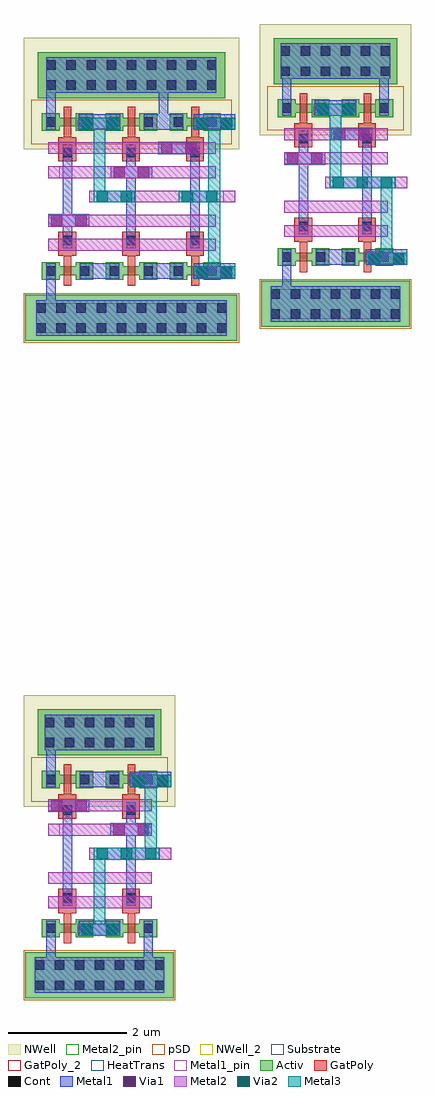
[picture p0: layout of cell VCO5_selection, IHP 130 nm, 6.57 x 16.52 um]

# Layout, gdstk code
from math import pi, radians
import gdstk
lib = gdstk.Library(unit=1e-6, precision=1e-09)
def R(c, l, rs):  # rectangles x0, y0, x1, y1
    for r in rs: c.add(gdstk.rectangle(r[:2], r[2:], *l))
def A(c, l, x, y, w, h, nx, ny, dx, dy):  # array of equal rectangles
    R(c, l, [(x+i*dx, y+j*dy, x+i*dx+w, y+j*dy+h) for i in range(nx) for j in range(ny)])
Activ = (1, 0)
GatPoly = (5, 0)
GatPoly_2 = (5, 2)
Cont = (6, 0)
Metal1 = (8, 0)
Metal1_pin = (8, 2)
Metal2 = (10, 0)
Metal2_pin = (10, 2)
pSD = (14, 0)
Via1 = (19, 0)
Via2 = (29, 0)
Metal3 = (30, 0)
NWell = (31, 0)
NWell_2 = (31, 2)
Substrate = (40, 0)
HeatTrans = (51, 0)

via_4_1 = lib.new_cell('Via$4$1')
R(via_4_1, Metal2, [(-0.1,-0.35,0.1,0.35)])
R(via_4_1, Via2, [(-0.095,-0.3,0.095,-0.11), (-0.095,0.11,0.095,0.3)])
R(via_4_1, Metal3, [(-0.1,-0.35,0.1,0.35)])

via_2_1 = lib.new_cell('Via$2$1')
R(via_2_1, Metal1, [(-0.105,-0.35,0.105,0.35)])
R(via_2_1, Metal2, [(-0.1,-0.35,0.1,0.35)])
R(via_2_1, Via1, [(-0.095,-0.3,0.095,-0.11), (-0.095,0.11,0.095,0.3)])

ntap1_1 = lib.new_cell('ntap1$1')
R(ntap1_1, Activ, [(0,0,2.09,0.78)])
A(ntap1_1, Cont, 0.115, 0.14, 0.16, 0.16, 6, 2, 0.34, 0.34)
R(ntap1_1, Metal1, [(0.115,0.09,1.975,0.69)])
R(ntap1_1, Metal1_pin, [(0.115,0.09,1.975,0.69), (0.115,0.14,1.975,0.64)])
R(ntap1_1, NWell, [(-0.24,-0.24,2.33,1.02), (0,0,2.09,0.78)])
R(ntap1_1, NWell_2, [(0,0,2.09,0.78)])
ntap1_1.add(gdstk.Label('well', (1.045,0.01), layer=63, texttype=0))
ntap1_1.add(gdstk.Label('well', (1.045,0.01), layer=31, texttype=0))

ptap1_1 = lib.new_cell('ptap1$1')
R(ptap1_1, Activ, [(0,0,2.51,0.78)])
A(ptap1_1, Cont, 0.155, 0.14, 0.16, 0.16, 7, 2, 0.34, 0.34)
R(ptap1_1, Metal1, [(0.155,0.09,2.355,0.69), (0.155,0.14,2.355,0.64)])
R(ptap1_1, Metal1_pin, [(0.155,0.14,2.355,0.64)])
R(ptap1_1, pSD, [(-0.03,-0.03,2.54,0.81)])
R(ptap1_1, Substrate, [(0,0,2.51,0.78)])
ptap1_1.add(gdstk.Label('sub!', (1.255,0.01), layer=63, texttype=0))
ptap1_1.add(gdstk.Label('sub!', (1.255,0.01), layer=40, texttype=0))

nmos_1 = lib.new_cell('nmos$1')
R(nmos_1, Activ, [(0,0,0.3,0.3), (0.57,0,0.87,0.3), (0,0.075,0.87,0.225)])
R(nmos_1, GatPoly, [(0.37,-0.105,0.5,0.405)])
R(nmos_1, GatPoly_2, [(0.37,-0.105,0.5,0.405)])
R(nmos_1, Cont, [(0.07,0.07,0.23,0.23), (0.64,0.07,0.8,0.23)])
R(nmos_1, Metal1, [(0.07,0.02,0.23,0.28), (0.64,0.02,0.8,0.28)])
R(nmos_1, Metal1_pin, [(0.07,0.02,0.23,0.28), (0.64,0.02,0.8,0.28)])
R(nmos_1, HeatTrans, [(0.37,-0.105,0.5,0.405)])
nmos_1.add(gdstk.Label('nmos', (0.435,0.15), layer=63, texttype=0))
nmos_1.add(gdstk.Label('nmos', (0.435,0.15), layer=51, texttype=0))

pmos_1 = lib.new_cell('pmos$1')
R(pmos_1, Activ, [(0,0,0.3,0.3), (0.57,0,0.87,0.3), (0,0.075,0.87,0.225)])
R(pmos_1, GatPoly, [(0.37,-0.105,0.5,0.405), (0.37,-0.105,0.5,0.405)])
R(pmos_1, Cont, [(0.07,0.07,0.23,0.23), (0.64,0.07,0.8,0.23)])
R(pmos_1, Metal1, [(0.07,0.02,0.23,0.28), (0.07,0.02,0.23,0.28), (0.64,0.02,0.8,0.28), (0.64,0.02,0.8,0.28)])
R(pmos_1, pSD, [(-0.18,-0.225,1.05,0.525)])
R(pmos_1, NWell, [(-0.31,-0.31,1.18,0.61)])
R(pmos_1, Substrate, [(0.57,0,0.87,0.3)])
R(pmos_1, HeatTrans, [(0.37,-0.105,0.5,0.405)])
pmos_1.add(gdstk.Label('pmos', (0.435,0.15), layer=63, texttype=0))
pmos_1.add(gdstk.Label('pmos', (0.435,0.15), layer=51, texttype=0))

via_8 = lib.new_cell('Via$8')
R(via_8, GatPoly, [(-0.15,-0.15,0.15,0.15)])
R(via_8, Cont, [(-0.08,-0.08,0.08,0.08)])
R(via_8, Metal1, [(-0.13,-0.08,0.13,0.08)])

via_7_1 = lib.new_cell('Via$7$1')
R(via_7_1, Metal2, [(-0.555,-0.1,0.555,0.1)])
A(via_7_1, Via2, -0.505, -0.095, 0.19, 0.19, 3, 1, 0.41, 0)
R(via_7_1, Metal3, [(-0.555,-0.1,0.555,0.1)])

via_6 = lib.new_cell('Via$6')
R(via_6, Metal1, [(-0.35,-0.105,0.35,0.105)])
R(via_6, Metal2, [(-0.35,-0.1,0.35,0.1)])
R(via_6, Via1, [(-0.3,-0.095,-0.11,0.095), (0.11,-0.095,0.3,0.095)])

nand_2in = lib.new_cell('NAND_2in')
R(nand_2in, GatPoly, [(9.375,7.165,9.675,7.275), (10.455,7.165,10.755,7.275), (9.375,9.065,9.675,9.175), (10.455,9.065,10.755,9.175)])
R(nand_2in, Metal1, [(9.735,6.78,10.405,7.04), (10.585,6.78,11.285,7.04), (9.72,9.3,10.42,9.56)])
R(nand_2in, Metal1_pin, [(9.16,6.015,9.36,6.215), (9.325,10.12,9.525,10.32)])
R(nand_2in, Metal2_pin, [(11.085,8.07,11.285,8.27), (9.2,8.48,9.4,8.68), (9.2,8.89,9.4,9.09)])
nand_2in.add(gdstk.FlexPath([(9.245,9.56),(9.245,10.525)], 0.16, ends="flush", simple_path=True, layer=8, datatype=0))  # Metal1
nand_2in.add(gdstk.FlexPath([(10.895,9.56),(10.895,10.525)], 0.16, ends="flush", simple_path=True, layer=8, datatype=0))  # Metal1
nand_2in.add(gdstk.FlexPath([(9.245,6.78),(9.245,6.415)], 0.16, ends="flush", simple_path=True, layer=8, datatype=0))  # Metal1
nand_2in.add(gdstk.FlexPath([(9.525,7.555),(9.525,8.785)], 0.16, ends="flush", simple_path=True, layer=8, datatype=0))  # Metal1
nand_2in.add(gdstk.FlexPath([(10.605,7.555),(10.605,8.785)], 0.16, ends="flush", simple_path=True, layer=8, datatype=0))  # Metal1
nand_2in.add(gdstk.FlexPath([(9.9,8.17),(11.285,8.17)], 0.2, ends="flush", simple_path=True, layer=10, datatype=0))  # Metal2
nand_2in.add(gdstk.FlexPath([(10.895,6.91),(10.565,6.91)], 0.2, ends="flush", simple_path=True, layer=10, datatype=0))  # Metal2
nand_2in.add(gdstk.FlexPath([(9.865,9.405),(9.7,9.405)], 0.2, ends="flush", simple_path=True, layer=10, datatype=0))  # Metal2
nand_2in.add(gdstk.FlexPath([(10.43,8.58),(10.43,8.58)], 0.2, ends="flush", simple_path=True, layer=10, datatype=0))  # Metal2
nand_2in.add(gdstk.FlexPath([(9.2,8.99),(10.955,8.99)], 0.2, ends="flush", simple_path=True, layer=10, datatype=0))  # Metal2
nand_2in.add(gdstk.FlexPath([(9.2,8.58),(10.955,8.58)], 0.2, ends="flush", simple_path=True, layer=10, datatype=0))  # Metal2
nand_2in.add(gdstk.FlexPath([(9.2,7.76),(10.955,7.76)], 0.2, ends="flush", simple_path=True, layer=10, datatype=0))  # Metal2
nand_2in.add(gdstk.FlexPath([(9.2,7.35),(10.955,7.35)], 0.2, ends="flush", simple_path=True, layer=10, datatype=0))  # Metal2
nand_2in.add(gdstk.FlexPath([(10.07,9.305),(10.07,8.07)], 0.2, ends="flush", simple_path=True, layer=30, datatype=0))  # Metal3
nand_2in.add(gdstk.FlexPath([(10.935,6.885),(10.935,8.07)], 0.2, ends="flush", simple_path=True, layer=30, datatype=0))  # Metal3
nand_2in.add(gdstk.Reference(via_4_1, (10.935,6.885), rotation=3*pi/2))
nand_2in.add(gdstk.Reference(via_2_1, (10.935,6.885), rotation=3*pi/2))
nand_2in.add(gdstk.Reference(ntap1_1, (9.025,9.835)))
nand_2in.add(gdstk.Reference(ptap1_1, (8.815,5.725)))
nand_2in.add(gdstk.Reference(nmos_1, (10.175,6.76)))
nand_2in.add(gdstk.Reference(pmos_1, (10.175,9.28)))
nand_2in.add(gdstk.Reference(nmos_1, (9.095,6.76)))
nand_2in.add(gdstk.Reference(pmos_1, (9.095,9.28)))
nand_2in.add(gdstk.Reference(via_8, (9.525,8.915), rotation=pi/2))
nand_2in.add(gdstk.Reference(via_8, (10.605,8.915), rotation=pi/2))
nand_2in.add(gdstk.Reference(via_8, (10.605,7.425), rotation=3*pi/2))
nand_2in.add(gdstk.Reference(via_8, (9.525,7.425), rotation=3*pi/2))
nand_2in.add(gdstk.Reference(via_2_1, (9.55,8.58), rotation=3*pi/2))
nand_2in.add(gdstk.Reference(via_7_1, (10.525,8.17)))
nand_2in.add(gdstk.Reference(via_2_1, (10.07,9.405), rotation=3*pi/2))
nand_2in.add(gdstk.Reference(via_4_1, (10.07,9.405), rotation=3*pi/2))
nand_2in.add(gdstk.Reference(via_6, (10.345,8.99)))
nand_2in.add(gdstk.Label('y', (11.185,8.17), layer=10, texttype=25))
nand_2in.add(gdstk.Label('b', (9.315,8.575), layer=10, texttype=25))
nand_2in.add(gdstk.Label('a', (9.3,8.99), layer=10, texttype=25))
nand_2in.add(gdstk.Label('VP', (9.295,10.22), layer=8, texttype=25))
nand_2in.add(gdstk.Label('GND', (9.26,6.115), layer=8, texttype=25))

ntap1_2 = lib.new_cell('ntap1$2')
R(ntap1_2, Activ, [(0,0,3.17,0.78)])
A(ntap1_2, Cont, 0.145, 0.14, 0.16, 0.16, 9, 2, 0.34, 0.34)
R(ntap1_2, Metal1, [(0.145,0.09,3.025,0.69)])
R(ntap1_2, Metal1_pin, [(0.145,0.09,3.025,0.69), (0.145,0.14,3.025,0.64)])
R(ntap1_2, NWell, [(-0.24,-0.24,3.41,1.02), (0,0,3.17,0.78)])
R(ntap1_2, NWell_2, [(0,0,3.17,0.78)])
ntap1_2.add(gdstk.Label('well', (1.585,0.01), layer=63, texttype=0))
ntap1_2.add(gdstk.Label('well', (1.585,0.01), layer=31, texttype=0))

ptap1_2 = lib.new_cell('ptap1$2')
R(ptap1_2, Activ, [(0,0,3.59,0.78)])
A(ptap1_2, Cont, 0.185, 0.14, 0.16, 0.16, 10, 2, 0.34, 0.34)
R(ptap1_2, Metal1, [(0.185,0.09,3.405,0.69), (0.185,0.14,3.405,0.64)])
R(ptap1_2, Metal1_pin, [(0.185,0.14,3.405,0.64)])
R(ptap1_2, pSD, [(-0.03,-0.03,3.62,0.81)])
R(ptap1_2, Substrate, [(0,0,3.59,0.78)])
ptap1_2.add(gdstk.Label('sub!', (1.795,0.01), layer=63, texttype=0))
ptap1_2.add(gdstk.Label('sub!', (1.795,0.01), layer=40, texttype=0))

nmos_2 = lib.new_cell('nmos$2')
R(nmos_2, Activ, [(0,0,0.3,0.3), (0.57,0,0.87,0.3), (0,0.075,0.87,0.225)])
R(nmos_2, GatPoly, [(0.37,-0.105,0.5,0.405)])
R(nmos_2, GatPoly_2, [(0.37,-0.105,0.5,0.405)])
R(nmos_2, Cont, [(0.07,0.07,0.23,0.23), (0.64,0.07,0.8,0.23)])
R(nmos_2, Metal1, [(0.07,0.02,0.23,0.28), (0.64,0.02,0.8,0.28)])
R(nmos_2, Metal1_pin, [(0.07,0.02,0.23,0.28), (0.64,0.02,0.8,0.28)])
R(nmos_2, HeatTrans, [(0.37,-0.105,0.5,0.405)])
nmos_2.add(gdstk.Label('nmos', (0.435,0.15), layer=63, texttype=0))
nmos_2.add(gdstk.Label('nmos', (0.435,0.15), layer=51, texttype=0))

pmos_2 = lib.new_cell('pmos$2')
R(pmos_2, Activ, [(0,0,0.3,0.3), (0.57,0,0.87,0.3), (0,0.075,0.87,0.225)])
R(pmos_2, GatPoly, [(0.37,-0.105,0.5,0.405), (0.37,-0.105,0.5,0.405)])
R(pmos_2, Cont, [(0.07,0.07,0.23,0.23), (0.64,0.07,0.8,0.23)])
R(pmos_2, Metal1, [(0.07,0.02,0.23,0.28), (0.07,0.02,0.23,0.28), (0.64,0.02,0.8,0.28), (0.64,0.02,0.8,0.28)])
R(pmos_2, pSD, [(-0.18,-0.225,1.05,0.525)])
R(pmos_2, NWell, [(-0.31,-0.31,1.18,0.61)])
R(pmos_2, Substrate, [(0.57,0,0.87,0.3)])
R(pmos_2, HeatTrans, [(0.37,-0.105,0.5,0.405)])
pmos_2.add(gdstk.Label('pmos', (0.435,0.15), layer=63, texttype=0))
pmos_2.add(gdstk.Label('pmos', (0.435,0.15), layer=51, texttype=0))

via_9 = lib.new_cell('Via$9')
R(via_9, GatPoly, [(-0.15,-0.15,0.15,0.15)])
R(via_9, Cont, [(-0.08,-0.08,0.08,0.08)])
R(via_9, Metal1, [(-0.13,-0.08,0.13,0.08)])

via_2_2 = lib.new_cell('Via$2$2')
R(via_2_2, Metal1, [(-0.105,-0.35,0.105,0.35)])
R(via_2_2, Metal2, [(-0.1,-0.35,0.1,0.35)])
R(via_2_2, Via1, [(-0.095,-0.3,0.095,-0.11), (-0.095,0.11,0.095,0.3)])

via_8_1 = lib.new_cell('Via$8$1')
R(via_8_1, Metal2, [(-0.35,-0.1,0.35,0.1)])
R(via_8_1, Via2, [(-0.3,-0.095,-0.11,0.095), (0.11,-0.095,0.3,0.095)])
R(via_8_1, Metal3, [(-0.35,-0.1,0.35,0.1)])

via_4_2 = lib.new_cell('Via$4$2')
R(via_4_2, Metal2, [(-0.1,-0.35,0.1,0.35)])
R(via_4_2, Via2, [(-0.095,-0.3,0.095,-0.11), (-0.095,0.11,0.095,0.3)])
R(via_4_2, Metal3, [(-0.1,-0.35,0.1,0.35)])

via_6_1 = lib.new_cell('Via$6$1')
R(via_6_1, Metal1, [(-0.35,-0.105,0.35,0.105)])
R(via_6_1, Metal2, [(-0.35,-0.1,0.35,0.1)])
R(via_6_1, Via1, [(-0.3,-0.095,-0.11,0.095), (0.11,-0.095,0.3,0.095)])

nand_3in = lib.new_cell('NAND_3in')
A(nand_3in, GatPoly, 9.375, 7.165, 0.3, 0.11, 3, 2, 1.08, 1.9)
R(nand_3in, Metal1, [(9.735,6.78,10.405,7.04), (10.815,6.78,11.485,7.04), (11.665,6.78,12.365,7.04), (9.72,9.3,10.42,9.56), (10.815,9.3,11.485,9.56), (11.665,9.3,12.365,9.56)])
R(nand_3in, Metal1_pin, [(9.16,6.015,9.36,6.215), (9.325,10.12,9.525,10.32)])
R(nand_3in, Metal2_pin, [(9.2,7.66,9.4,7.86), (12.165,8.07,12.365,8.27), (9.2,8.48,9.4,8.68), (9.2,8.89,9.4,9.09)])
nand_3in.add(gdstk.FlexPath([(11.685,7.555),(11.685,8.785)], 0.16, ends="flush", simple_path=True, layer=8, datatype=0))  # Metal1
nand_3in.add(gdstk.FlexPath([(11.15,9.56),(11.15,9.925)], 0.16, ends="flush", simple_path=True, layer=8, datatype=0))  # Metal1
nand_3in.add(gdstk.FlexPath([(9.245,9.56),(9.245,10.525)], 0.16, ends="flush", simple_path=True, layer=8, datatype=0))  # Metal1
nand_3in.add(gdstk.FlexPath([(9.245,6.78),(9.245,6.415)], 0.16, ends="flush", simple_path=True, layer=8, datatype=0))  # Metal1
nand_3in.add(gdstk.FlexPath([(9.525,7.555),(9.525,8.785)], 0.16, ends="flush", simple_path=True, layer=8, datatype=0))  # Metal1
nand_3in.add(gdstk.FlexPath([(10.605,7.555),(10.605,8.785)], 0.16, ends="flush", simple_path=True, layer=8, datatype=0))  # Metal1
nand_3in.add(gdstk.FlexPath([(9.9,8.17),(12.365,8.17)], 0.2, ends="flush", simple_path=True, layer=10, datatype=0))  # Metal2
nand_3in.add(gdstk.FlexPath([(11.81,9.405),(11.645,9.405)], 0.2, ends="flush", simple_path=True, layer=10, datatype=0))  # Metal2
nand_3in.add(gdstk.FlexPath([(11.81,6.885),(11.645,6.885)], 0.2, ends="flush", simple_path=True, layer=10, datatype=0))  # Metal2
nand_3in.add(gdstk.FlexPath([(9.2,7.76),(12.035,7.76)], 0.2, ends="flush", simple_path=True, layer=10, datatype=0))  # Metal2
nand_3in.add(gdstk.FlexPath([(9.2,7.35),(12.035,7.35)], 0.2, ends="flush", simple_path=True, layer=10, datatype=0))  # Metal2
nand_3in.add(gdstk.FlexPath([(9.2,8.99),(12.035,8.99)], 0.2, ends="flush", simple_path=True, layer=10, datatype=0))  # Metal2
nand_3in.add(gdstk.FlexPath([(9.2,8.58),(12.035,8.58)], 0.2, ends="flush", simple_path=True, layer=10, datatype=0))  # Metal2
nand_3in.add(gdstk.FlexPath([(9.865,9.405),(9.7,9.405)], 0.2, ends="flush", simple_path=True, layer=10, datatype=0))  # Metal2
nand_3in.add(gdstk.FlexPath([(10.43,8.58),(10.43,8.58)], 0.2, ends="flush", simple_path=True, layer=10, datatype=0))  # Metal2
nand_3in.add(gdstk.FlexPath([(12.015,6.885),(12.015,8.17)], 0.2, ends="flush", simple_path=True, layer=30, datatype=0))  # Metal3
nand_3in.add(gdstk.FlexPath([(12.015,9.405),(12.015,8.17)], 0.2, ends="flush", simple_path=True, layer=30, datatype=0))  # Metal3
nand_3in.add(gdstk.FlexPath([(10.07,9.305),(10.07,8.07)], 0.2, ends="flush", simple_path=True, layer=30, datatype=0))  # Metal3
nand_3in.add(gdstk.Reference(ntap1_2, (9.025,9.835)))
nand_3in.add(gdstk.Reference(ptap1_2, (8.815,5.725)))
nand_3in.add(gdstk.Reference(nmos_2, (10.175,6.76)))
nand_3in.add(gdstk.Reference(pmos_2, (10.175,9.28)))
nand_3in.add(gdstk.Reference(nmos_2, (9.095,6.76)))
nand_3in.add(gdstk.Reference(pmos_2, (9.095,9.28)))
nand_3in.add(gdstk.Reference(via_9, (9.525,8.915), rotation=pi/2))
nand_3in.add(gdstk.Reference(via_9, (10.605,8.915), rotation=pi/2))
nand_3in.add(gdstk.Reference(via_9, (10.605,7.425), rotation=3*pi/2))
nand_3in.add(gdstk.Reference(via_9, (9.525,7.425), rotation=3*pi/2))
nand_3in.add(gdstk.Reference(via_2_2, (10.61,8.58), rotation=3*pi/2))
nand_3in.add(gdstk.Reference(via_8_1, (10.32,8.17)))
nand_3in.add(gdstk.Reference(via_2_2, (10.07,9.405), rotation=3*pi/2))
nand_3in.add(gdstk.Reference(via_4_2, (10.07,9.405), rotation=3*pi/2))
nand_3in.add(gdstk.Reference(via_6_1, (11.415,8.99)))
nand_3in.add(gdstk.Reference(pmos_2, (11.255,9.28)))
nand_3in.add(gdstk.Reference(nmos_2, (11.255,6.76)))
nand_3in.add(gdstk.Reference(via_9, (11.685,8.915), rotation=pi/2))
nand_3in.add(gdstk.Reference(via_9, (11.685,7.425), rotation=3*pi/2))
nand_3in.add(gdstk.Reference(via_2_2, (9.55,7.76), rotation=3*pi/2))
nand_3in.add(gdstk.Reference(via_2_2, (12.015,9.405), rotation=3*pi/2))
nand_3in.add(gdstk.Reference(via_4_2, (12.015,9.405), rotation=3*pi/2))
nand_3in.add(gdstk.Reference(via_2_2, (12.015,6.885), rotation=3*pi/2))
nand_3in.add(gdstk.Reference(via_4_2, (12.015,6.885), rotation=3*pi/2))
nand_3in.add(gdstk.Reference(via_8_1, (11.765,8.17)))
nand_3in.add(gdstk.Label('c', (9.315,7.755), layer=10, texttype=25))
nand_3in.add(gdstk.Label('y', (12.265,8.17), layer=10, texttype=25))
nand_3in.add(gdstk.Label('b', (9.315,8.575), layer=10, texttype=25))
nand_3in.add(gdstk.Label('a', (9.3,8.99), layer=10, texttype=25))
nand_3in.add(gdstk.Label('VP', (9.295,10.22), layer=8, texttype=25))
nand_3in.add(gdstk.Label('GND', (9.26,6.115), layer=8, texttype=25))

via_4_3 = lib.new_cell('Via$4$3')
R(via_4_3, Metal2, [(-0.1,-0.35,0.1,0.35)])
R(via_4_3, Via2, [(-0.095,-0.3,0.095,-0.11), (-0.095,0.11,0.095,0.3)])
R(via_4_3, Metal3, [(-0.1,-0.35,0.1,0.35)])

via_2_3 = lib.new_cell('Via$2$3')
R(via_2_3, Metal1, [(-0.105,-0.35,0.105,0.35)])
R(via_2_3, Metal2, [(-0.1,-0.35,0.1,0.35)])
R(via_2_3, Via1, [(-0.095,-0.3,0.095,-0.11), (-0.095,0.11,0.095,0.3)])

ntap1_3 = lib.new_cell('ntap1$3')
R(ntap1_3, Activ, [(0,0,2.09,0.78)])
A(ntap1_3, Cont, 0.115, 0.14, 0.16, 0.16, 6, 2, 0.34, 0.34)
R(ntap1_3, Metal1, [(0.115,0.09,1.975,0.69)])
R(ntap1_3, Metal1_pin, [(0.115,0.09,1.975,0.69), (0.115,0.14,1.975,0.64)])
R(ntap1_3, NWell, [(-0.24,-0.24,2.33,1.02), (0,0,2.09,0.78)])
R(ntap1_3, NWell_2, [(0,0,2.09,0.78)])
ntap1_3.add(gdstk.Label('well', (1.045,0.01), layer=63, texttype=0))
ntap1_3.add(gdstk.Label('well', (1.045,0.01), layer=31, texttype=0))

ptap1_3 = lib.new_cell('ptap1$3')
R(ptap1_3, Activ, [(0,0,2.51,0.78)])
A(ptap1_3, Cont, 0.155, 0.14, 0.16, 0.16, 7, 2, 0.34, 0.34)
R(ptap1_3, Metal1, [(0.155,0.09,2.355,0.69), (0.155,0.14,2.355,0.64)])
R(ptap1_3, Metal1_pin, [(0.155,0.14,2.355,0.64)])
R(ptap1_3, pSD, [(-0.03,-0.03,2.54,0.81)])
R(ptap1_3, Substrate, [(0,0,2.51,0.78)])
ptap1_3.add(gdstk.Label('sub!', (1.255,0.01), layer=63, texttype=0))
ptap1_3.add(gdstk.Label('sub!', (1.255,0.01), layer=40, texttype=0))

nmos_3 = lib.new_cell('nmos$3')
R(nmos_3, Activ, [(0,0,0.3,0.3), (0.57,0,0.87,0.3), (0,0.075,0.87,0.225)])
R(nmos_3, GatPoly, [(0.37,-0.105,0.5,0.405)])
R(nmos_3, GatPoly_2, [(0.37,-0.105,0.5,0.405)])
R(nmos_3, Cont, [(0.07,0.07,0.23,0.23), (0.64,0.07,0.8,0.23)])
R(nmos_3, Metal1, [(0.07,0.02,0.23,0.28), (0.64,0.02,0.8,0.28)])
R(nmos_3, Metal1_pin, [(0.07,0.02,0.23,0.28), (0.64,0.02,0.8,0.28)])
R(nmos_3, HeatTrans, [(0.37,-0.105,0.5,0.405)])
nmos_3.add(gdstk.Label('nmos', (0.435,0.15), layer=63, texttype=0))
nmos_3.add(gdstk.Label('nmos', (0.435,0.15), layer=51, texttype=0))

pmos_3 = lib.new_cell('pmos$3')
R(pmos_3, Activ, [(0,0,0.3,0.3), (0.57,0,0.87,0.3), (0,0.075,0.87,0.225)])
R(pmos_3, GatPoly, [(0.37,-0.105,0.5,0.405), (0.37,-0.105,0.5,0.405)])
R(pmos_3, Cont, [(0.07,0.07,0.23,0.23), (0.64,0.07,0.8,0.23)])
R(pmos_3, Metal1, [(0.07,0.02,0.23,0.28), (0.07,0.02,0.23,0.28), (0.64,0.02,0.8,0.28), (0.64,0.02,0.8,0.28)])
R(pmos_3, pSD, [(-0.18,-0.225,1.05,0.525)])
R(pmos_3, NWell, [(-0.31,-0.31,1.18,0.61)])
R(pmos_3, Substrate, [(0.57,0,0.87,0.3)])
R(pmos_3, HeatTrans, [(0.37,-0.105,0.5,0.405)])
pmos_3.add(gdstk.Label('pmos', (0.435,0.15), layer=63, texttype=0))
pmos_3.add(gdstk.Label('pmos', (0.435,0.15), layer=51, texttype=0))

via_10 = lib.new_cell('Via$10')
R(via_10, GatPoly, [(-0.15,-0.15,0.15,0.15)])
R(via_10, Cont, [(-0.08,-0.08,0.08,0.08)])
R(via_10, Metal1, [(-0.13,-0.08,0.13,0.08)])

via_7_2 = lib.new_cell('Via$7$2')
R(via_7_2, Metal2, [(-0.555,-0.1,0.555,0.1)])
A(via_7_2, Via2, -0.505, -0.095, 0.19, 0.19, 3, 1, 0.41, 0)
R(via_7_2, Metal3, [(-0.555,-0.1,0.555,0.1)])

via_6_2 = lib.new_cell('Via$6$2')
R(via_6_2, Metal1, [(-0.35,-0.105,0.35,0.105)])
R(via_6_2, Metal2, [(-0.35,-0.1,0.35,0.1)])
R(via_6_2, Via1, [(-0.3,-0.095,-0.11,0.095), (0.11,-0.095,0.3,0.095)])

nor_2in = lib.new_cell('NOR_2in')
R(nor_2in, GatPoly, [(9.375,7.165,9.675,7.275), (10.455,7.165,10.755,7.275), (9.375,9.065,9.675,9.175), (10.455,9.065,10.755,9.175)])
R(nor_2in, Metal1, [(9.72,6.78,10.42,7.04), (9.735,6.78,10.405,7.04), (9.735,9.3,10.405,9.56), (10.585,9.3,11.285,9.56)])
R(nor_2in, Metal1_pin, [(9.16,6.015,9.36,6.215), (9.325,10.12,9.525,10.32)])
R(nor_2in, Metal2_pin, [(11.085,8.07,11.285,8.27), (9.2,8.48,9.4,8.68), (9.2,8.89,9.4,9.09)])
nor_2in.add(gdstk.FlexPath([(10.895,6.91),(10.895,6.415)], 0.16, ends="flush", simple_path=True, layer=8, datatype=0))  # Metal1
nor_2in.add(gdstk.FlexPath([(9.245,9.56),(9.245,10.525)], 0.16, ends="flush", simple_path=True, layer=8, datatype=0))  # Metal1
nor_2in.add(gdstk.FlexPath([(9.245,6.78),(9.245,6.415)], 0.16, ends="flush", simple_path=True, layer=8, datatype=0))  # Metal1
nor_2in.add(gdstk.FlexPath([(9.525,7.555),(9.525,8.785)], 0.16, ends="flush", simple_path=True, layer=8, datatype=0))  # Metal1
nor_2in.add(gdstk.FlexPath([(10.605,7.555),(10.605,8.785)], 0.16, ends="flush", simple_path=True, layer=8, datatype=0))  # Metal1
nor_2in.add(gdstk.FlexPath([(9.9,8.17),(11.285,8.17)], 0.2, ends="flush", simple_path=True, layer=10, datatype=0))  # Metal2
nor_2in.add(gdstk.FlexPath([(9.865,6.885),(9.7,6.885)], 0.2, ends="flush", simple_path=True, layer=10, datatype=0))  # Metal2
nor_2in.add(gdstk.FlexPath([(10.895,9.43),(10.565,9.43)], 0.2, ends="flush", simple_path=True, layer=10, datatype=0))  # Metal2
nor_2in.add(gdstk.FlexPath([(10.43,8.58),(10.43,8.58)], 0.2, ends="flush", simple_path=True, layer=10, datatype=0))  # Metal2
nor_2in.add(gdstk.FlexPath([(9.2,8.99),(10.955,8.99)], 0.2, ends="flush", simple_path=True, layer=10, datatype=0))  # Metal2
nor_2in.add(gdstk.FlexPath([(9.2,8.58),(10.955,8.58)], 0.2, ends="flush", simple_path=True, layer=10, datatype=0))  # Metal2
nor_2in.add(gdstk.FlexPath([(9.2,7.76),(10.955,7.76)], 0.2, ends="flush", simple_path=True, layer=10, datatype=0))  # Metal2
nor_2in.add(gdstk.FlexPath([(9.2,7.35),(10.955,7.35)], 0.2, ends="flush", simple_path=True, layer=10, datatype=0))  # Metal2
nor_2in.add(gdstk.FlexPath([(10.935,9.405),(10.935,8.075)], 0.2, ends="flush", simple_path=True, layer=30, datatype=0))  # Metal3
nor_2in.add(gdstk.FlexPath([(10.07,8.17),(10.07,6.935)], 0.2, ends="flush", simple_path=True, layer=30, datatype=0))  # Metal3
nor_2in.add(gdstk.Reference(via_4_3, (10.935,9.405), rotation=3*pi/2))
nor_2in.add(gdstk.Reference(via_2_3, (10.935,9.405), rotation=3*pi/2))
nor_2in.add(gdstk.Reference(ntap1_3, (9.025,9.835)))
nor_2in.add(gdstk.Reference(ptap1_3, (8.815,5.725)))
nor_2in.add(gdstk.Reference(nmos_3, (10.175,6.76)))
nor_2in.add(gdstk.Reference(pmos_3, (10.175,9.28)))
nor_2in.add(gdstk.Reference(nmos_3, (9.095,6.76)))
nor_2in.add(gdstk.Reference(pmos_3, (9.095,9.28)))
nor_2in.add(gdstk.Reference(via_10, (9.525,8.915), rotation=pi/2))
nor_2in.add(gdstk.Reference(via_10, (10.605,8.915), rotation=pi/2))
nor_2in.add(gdstk.Reference(via_10, (10.605,7.425), rotation=3*pi/2))
nor_2in.add(gdstk.Reference(via_10, (9.525,7.425), rotation=3*pi/2))
nor_2in.add(gdstk.Reference(via_2_3, (10.605,8.58), rotation=3*pi/2))
nor_2in.add(gdstk.Reference(via_7_2, (10.525,8.17)))
nor_2in.add(gdstk.Reference(via_2_3, (10.07,6.885), rotation=3*pi/2))
nor_2in.add(gdstk.Reference(via_4_3, (10.07,6.885), rotation=3*pi/2))
nor_2in.add(gdstk.Reference(via_6_2, (9.55,8.99)))
nor_2in.add(gdstk.Label('y', (11.185,8.17), layer=10, texttype=25))
nor_2in.add(gdstk.Label('b', (9.315,8.575), layer=10, texttype=25))
nor_2in.add(gdstk.Label('a', (9.3,8.99), layer=10, texttype=25))
nor_2in.add(gdstk.Label('VP', (9.295,10.22), layer=8, texttype=25))
nor_2in.add(gdstk.Label('GND', (9.26,6.115), layer=8, texttype=25))

vco5_selection = lib.new_cell('VCO5_selection')
vco5_selection.add(gdstk.Reference(nand_2in, (3.995,5.89)))
vco5_selection.add(gdstk.Reference(nand_3in, (0,5.655)))
vco5_selection.add(gdstk.Reference(nor_2in, (0,-5.475)))

lib.write_gds('VCO5_selection.gds')
